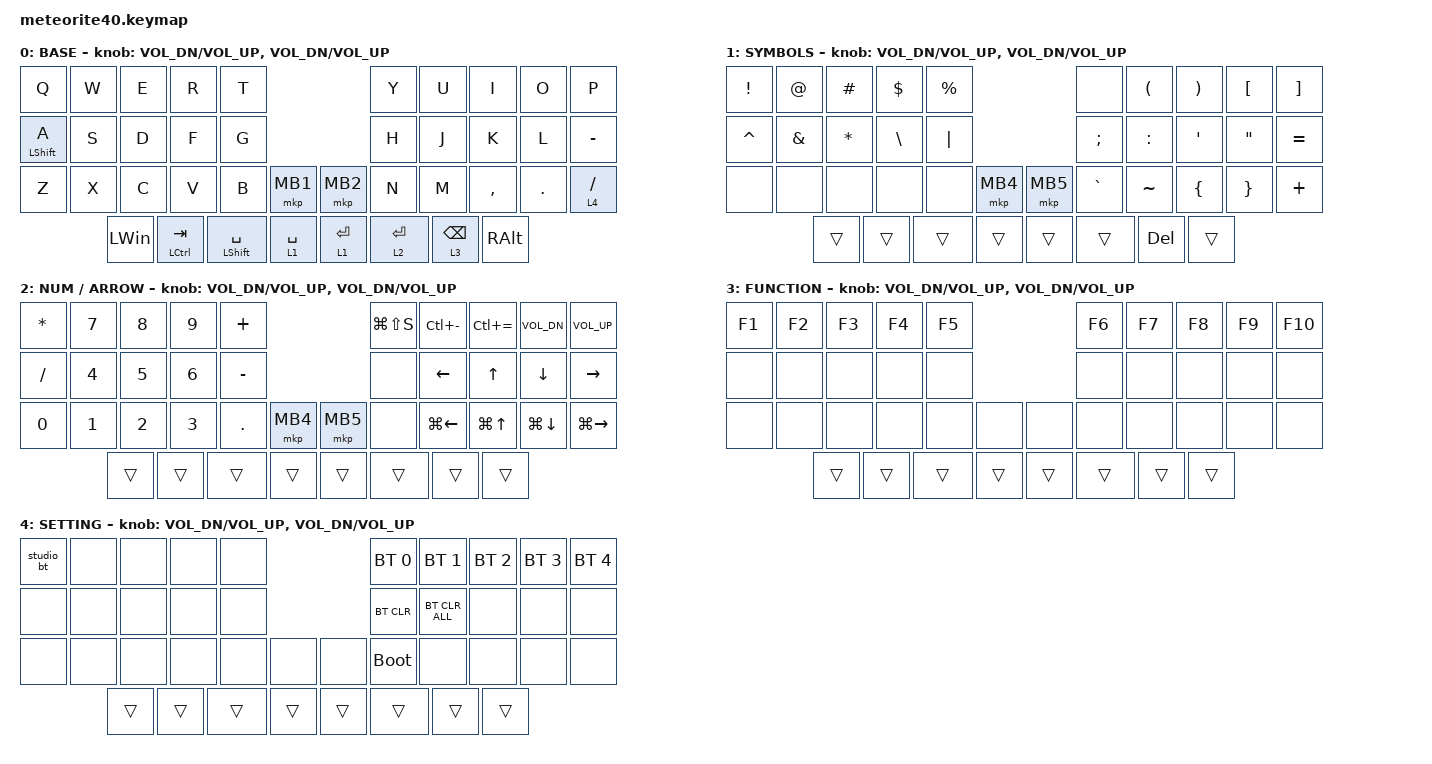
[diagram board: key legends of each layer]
#include <behaviors.dtsi>
#include <dt-bindings/zmk/bt.h>
#include <dt-bindings/zmk/keys.h>
#include "user_macros.dtsi"

#include <behaviors/meteorite_custom_key.dtsi>
#include <behaviors/custom_config.dtsi>
#include <behaviors/meteorite_bt_os.dtsi>
#include <behaviors/meteorite_mod_key.dtsi>
#include <behaviors/meteorite_os_key.dtsi>
#include <behaviors/meteorite_os_macro.dtsi>
#include <behaviors/studio_bt_disc.dtsi>
#include <dt-bindings/zmk/custom_config.h>
#include <dt-bindings/zmk/meteorite_custom_keys.h>
#include <dt-bindings/zmk/meteorite_bt_os.h>

#define ZMK_POINTING_DEFAULT_SCRL_VAL 200
#include <dt-bindings/zmk/pointing.h>

&mt { 
    flavor = "tap-preferred"; // change hold to tap
    tapping-term-ms = <200>;
    meteorite-tapping-term-source = "mod-tap";
    quick-tap-ms = <150>; // change 200 to 150
    require-prior-idle-ms = <(-1)>;
};

&lt {
    flavor = "tap-preferred";
    tapping-term-ms = <150>; // change 200 to 150
    meteorite-tapping-term-source = "layer-tap";
    quick-tap-ms = <150>; // change 200 to 150
    require-prior-idle-ms = <(-1)>;
};

/ { 
    behaviors {
        mck_mt: mck_mt {
            compatible = "zmk,behavior-hold-tap";
            #binding-cells = <2>;
            flavor = "tap-preferred";
            tapping-term-ms = <200>;
            meteorite-tapping-term-source = "mod-tap";
            bindings = <&mck>, <&kp>;
            display-name = "meteorite OS-Switch-mod-tap";
        };

        mck_mt_st: mck_mt_st {
            compatible = "zmk,behavior-hold-tap";
            #binding-cells = <2>;
            flavor = "tap-preferred";
            tapping-term-ms = <200>;
            meteorite-tapping-term-source = "mod-tap";
            bindings = <&mck>, <&alt_cmd_tab>;
            display-name = "meteorite OS-Switch-mod-tap (smart toggle)";
        };

        alt_cmd_tab: alt_cmd_tab {
            compatible = "zmk,behavior-smart-toggle";
            #binding-cells = <0>;
            display-name = "meteorite Smart toggle (Alt/Cmd+Tab)";
            bindings = <&mck M_OS_ALT_CMD>, <&kp TAB>;
            position-bindings = <12 13>; /* D, F */
            position-binding-behaviors = <&kp LS(TAB)>, <&kp TAB>;
        };

        enc_msc: encoder_mouse_scroll {
            compatible = "zmk,behavior-sensor-rotate-var";
            #sensor-binding-cells = <2>;
            bindings = <&msc>, <&msc>;
            tap-ms = <25>;
            display-name = "Encoder Mouse Scroll";
        };

        enc_kp: encoder_key_press {
            compatible = "zmk,behavior-sensor-rotate-var";
            #sensor-binding-cells = <2>;
            bindings = <&kp>, <&kp>;
            tap-ms = <25>;
            display-name = "Encoder Key Press";
        };

    };

    combos {
        compatible = "zmk,combos";

        lang1 {
            bindings = <&kp LANG1>;
            key-positions = <12 13>; /* D + F */
            layers = <0>;
        };

        lang2 {
            bindings = <&kp LANG2>;
            key-positions = <16 17>; /* J + K */
            layers = <0>;
        };

        esc {
            bindings = <&kp ESCAPE>;
            key-positions = <20 21>; /* Z + X */
            layers = <0>;
        };

        tab {
            bindings = <&kp TAB>;
            key-positions = <0 1>; /* Q + W */
            layers = <0>;
        };

        line_home {
            bindings = <&mosk HOME LG(LEFT)>;
            key-positions = <16 17>; /* J + K (on layer 2) */
            layers = <2>;
        };

        line_end {
            bindings = <&mosk END LG(RIGHT)>;
            key-positions = <18 19>; /* L + - (on layer 2) */
            layers = <2>;
        };

        doc_home {
            bindings = <&mosk LC(HOME) LG(UP)>;
            key-positions = <16 18>; /* J + L (on layer 2) */
            layers = <2>;
        };

        doc_end {
            bindings = <&mosk LC(END) LG(DOWN)>;
            key-positions = <17 19>; /* K + - (on layer 2) */
            layers = <2>;
        };
    };

    keymap {
        compatible = "zmk,keymap";
        layout = &LAYOUT_2U_SPACE;

        win_default_layer {
            display-name = "BASE";
            bindings = <
                &kp Q        &kp W       &kp E        &kp R        &kp T                                 &kp Y        &kp U       &kp I       &kp O  &kp P
                &mt LSHIFT A &kp S       &kp D        &kp F        &kp G                                 &kp H        &kp J       &kp K       &kp L  &kp MINUS
                &kp Z        &kp X       &kp C        &kp V        &kp B        &mkp MB1     &mkp MB2    &kp N        &kp M       &kp COMMA   &kp DOT  &lt 4 SLASH
                                    &kp LWIN  &mt LCTRL TAB  &mt LSHIFT SPACE  &lt 1 SPACE  &lt 1 ENTER  &lt 2 ENTER  &lt 3 BSPC  &kp RALT
            >;

            sensor-bindings =
                <&enc_kp C_VOL_DN C_VOL_UP>,
                <&enc_kp C_VOL_DN C_VOL_UP>;
        };

        layer_1 {
            display-name = "SYMBOLS";
            bindings = <
                &kp EXCL   &kp AT    &kp HASH  &kp DLLR  &kp PRCNT                       &none      &kp LPAR   &kp RPAR   &kp LBKT   &kp RBKT
                &kp CARET  &kp AMPS  &kp STAR  &kp BSLH  &kp PIPE                        &kp SEMI   &kp COLON  &kp SQT    &kp DQT    &kp EQUAL
                &none      &none     &none     &none     &none      &mkp MB4  &mkp MB5   &kp GRAVE  &kp TILDE  &kp LBRC   &kp RBRC   &kp PLUS
                                     &trans     &trans    &trans    &trans    &trans     &trans    &kp DEL     &trans
            >;

            sensor-bindings =
                <&enc_kp C_VOL_DN C_VOL_UP>,
                <&enc_kp C_VOL_DN C_VOL_UP>;
        };

        layer_2 {
            display-name = "NUM / ARROW";
            bindings = <
                &kp ASTRK        &kp N7     &kp N8     &kp N9     &kp PLUS                        &kp LG(LS(S)) &kp LC(MINUS) &kp LC(EQUAL) &kp C_VOL_DN &kp C_VOL_UP
                &kp SLASH        &kp N4     &kp N5     &kp N6     &kp MINUS                       &none         &kp LEFT      &kp UP        &kp DOWN     &kp RIGHT
                &kp N0           &kp N1     &kp N2     &kp N3     &kp DOT   &mkp MB4   &mkp MB5   &none         &kp LG(LEFT)  &kp LG(UP)    &kp LG(DOWN) &kp LG(RIGHT)
                                        &trans           &trans     &trans     &trans    &trans        &trans  &trans    &trans
            >;

            sensor-bindings =
                <&enc_kp C_VOL_DN C_VOL_UP>,
                <&enc_kp C_VOL_DN C_VOL_UP>;

        };

        layer_3 {
            display-name = "FUNCTION";
            bindings = <
                &kp F1  &kp F2  &kp F3  &kp F4  &kp F5                  &kp F6  &kp F7  &kp F8  &kp F9  &kp F10
                &none   &none   &none   &none   &none                   &none   &none   &none   &none   &none
                &none   &none   &none   &none   &none   &none   &none   &none   &none   &none    &none  &none
                                &trans  &trans  &trans  &trans  &trans  &trans  &trans  &trans
            >;

            sensor-bindings =
                <&enc_kp C_VOL_DN C_VOL_UP>,
                <&enc_kp C_VOL_DN C_VOL_UP>;

        };
        layer_4 {
			display-name = "SETTING";
			bindings = <
				&studio_bt      &none           &none            &none            &none                     &bt BT_SEL 0   &bt BT_SEL 1    &bt BT_SEL 2  &bt BT_SEL 3  &bt BT_SEL 4
				&none           &none           &none            &none            &none                &bt BT_CLR     &bt BT_CLR_ALL  &none         &none         &none
				&none           &none           &none           &none             &none                   &none  &none  &bootloader    &none         &none         &none         &none
												                            &trans       &trans  &trans  &trans  &trans  &trans    &trans        &trans
			>;

            sensor-bindings =
                <&enc_kp C_VOL_DN C_VOL_UP>,
                <&enc_kp C_VOL_DN C_VOL_UP>;
        };

        layer_5 {
            status = "reserved";
            display-name = "RESERVE 1";
            bindings = <
                &none  &none  &none  &none  &none                  &none  &none  &none  &none  &none
                &none  &none  &none  &none  &none                  &none  &none  &none  &none  &none
                &none  &none  &none  &none  &none  &none  &none  &none  &none  &none  &none  &none
                              &none  &none  &none  &none  &none  &none  &none  &none
            >;

            sensor-bindings =
                <&enc_kp C_VOL_DN C_VOL_UP>,
                <&enc_kp C_VOL_DN C_VOL_UP>;
        };

        layer_6 {
            status = "reserved";
            display-name = "RESERVE 2";
            bindings = <
                &none  &none  &none  &none  &none                  &none  &none  &none  &none  &none
                &none  &none  &none  &none  &none                  &none  &none  &none  &none  &none
                &none  &none  &none  &none  &none  &none  &none  &none  &none  &none  &none  &none
                              &none  &none  &none  &none  &none  &none  &none  &none
            >;

            sensor-bindings =
                <&enc_kp C_VOL_DN C_VOL_UP>,
                <&enc_kp C_VOL_DN C_VOL_UP>;
        };

        layer_7 {
            status = "reserved";
            display-name = "RESERVE 3";
            bindings = <
                &none  &none  &none  &none  &none                  &none  &none  &none  &none  &none
                &none  &none  &none  &none  &none                  &none  &none  &none  &none  &none
                &none  &none  &none  &none  &none  &none  &none  &none  &none  &none  &none  &none
                              &none  &none  &none  &none  &none  &none  &none  &none
            >;

            sensor-bindings =
                <&enc_kp C_VOL_DN C_VOL_UP>,
                <&enc_kp C_VOL_DN C_VOL_UP>;
        };
    };
};
